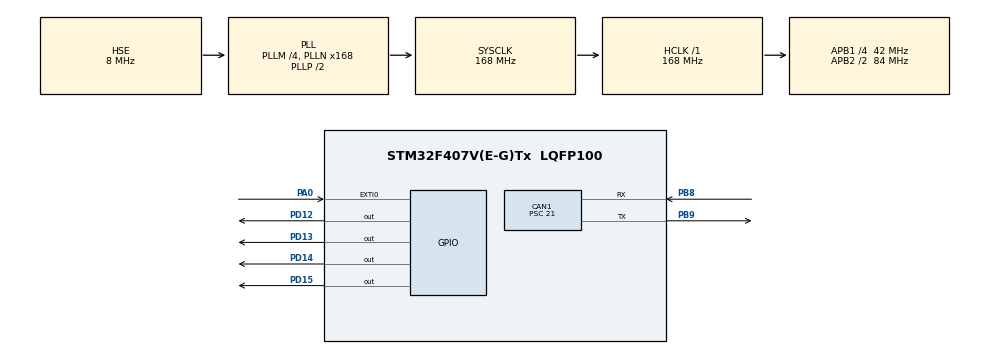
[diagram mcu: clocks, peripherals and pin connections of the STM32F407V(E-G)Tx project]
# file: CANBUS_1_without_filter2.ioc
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CAN1.BS1=CAN_BS1_10TQ
CAN1.BS2=CAN_BS2_5TQ
CAN1.CalculateBaudRate=125000
CAN1.CalculateTimeBit=8000
CAN1.CalculateTimeQuantum=500.0
CAN1.Prescaler=21
Mcu.Family=STM32F4
Mcu.Name=STM32F407V(E-G)Tx
Mcu.Package=LQFP100
NVIC.CAN1_RX0_IRQn=true\:0\:1\:false\:false\:true\:true\:true\:true
NVIC.EXTI0_IRQn=true\:0\:0\:false\:false\:true\:true\:true\:true
NVIC.PriorityGroup=NVIC_PRIORITYGROUP_0
PA0-WKUP.Signal=GPXTI0
PB8.Mode=CAN_Activate
PB8.Signal=CAN1_RX
PB9.Mode=CAN_Activate
PB9.Signal=CAN1_TX
PD12.Signal=GPIO_Output
PD13.Signal=GPIO_Output
PD14.Signal=GPIO_Output
PD15.Signal=GPIO_Output
PH0-OSC_IN.Mode=HSE-External-Oscillator
PH0-OSC_IN.Signal=RCC_OSC_IN
PH1-OSC_OUT.Mode=HSE-External-Oscillator
PH1-OSC_OUT.Signal=RCC_OSC_OUT
ProjectManager.HeapSize=0x200
ProjectManager.StackSize=0x400
ProjectManager.TargetToolchain=STM32CubeIDE
RCC.48MHZClocksFreq_Value=84000000
RCC.AHBFreq_Value=168000000
RCC.APB1CLKDivider=RCC_HCLK_DIV4
RCC.APB1Freq_Value=42000000
RCC.APB1TimFreq_Value=84000000
RCC.APB2CLKDivider=RCC_HCLK_DIV2
RCC.APB2Freq_Value=84000000
RCC.APB2TimFreq_Value=168000000
RCC.CortexFreq_Value=168000000
RCC.HCLKFreq_Value=168000000
RCC.HSE_VALUE=8000000
RCC.HSI_VALUE=16000000
RCC.LSE_VALUE=32768
RCC.PLLM=4
RCC.PLLN=168
RCC.PLLSourceVirtual=RCC_PLLSOURCE_HSE
RCC.SYSCLKFreq_VALUE=168000000
RCC.SYSCLKSource=RCC_SYSCLKSOURCE_PLLCLK
RCC.VCOOutputFreq_Value=336000000
board=custom

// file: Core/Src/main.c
/* USER CODE BEGIN Header */
/**
  ******************************************************************************
  * @file           : main.c
  * @brief          : Main program body
  ******************************************************************************
  * @attention
  *
  * Copyright (c) 2023 STMicroelectronics.
  * All rights reserved.
  *
  * This software is licensed under terms that can be found in the LICENSE file
  * in the root directory of this software component.
  * If no LICENSE file comes with this software, it is provided AS-IS.
  *
  ******************************************************************************
  */
/* USER CODE END Header */
#include "main.h"

CAN_HandleTypeDef hcan1;

CAN_TxHeaderTypeDef pTxHeader;

uint8_t count;
uint32_t pTxMailbox;

CAN_RxHeaderTypeDef pRxHeader;
uint8_t rcount;

CAN_FilterTypeDef sFilterConfig;

void SystemClock_Config(void);
static void MX_GPIO_Init(void);
static void MX_CAN1_Init(void);

int main(void)
{

  /* MCU Configuration--------------------------------------------------------*/

  /* Reset of all peripherals, Initializes the Flash interface and the Systick. */
  HAL_Init();

  /* Configure the system clock */
  SystemClock_Config();

  /* Initialize all configured peripherals */
  MX_GPIO_Init();
  MX_CAN1_Init();
  /* USER CODE BEGIN 2 */

  //start can communication
  HAL_CAN_Start(&hcan1);
  //enable interrupts
  HAL_CAN_ActivateNotification(&hcan1, CAN_IT_RX_FIFO0_MSG_PENDING);

  //set transmit parameters
  pTxHeader.DLC=1;
  pTxHeader.IDE=CAN_ID_STD;
  pTxHeader.RTR=CAN_RTR_DATA;
  pTxHeader.StdId=0X0156;
//set filter parameters
sFilterConfig.FilterActivation=ENABLE;
sFilterConfig.FilterBank=0;
sFilterConfig.FilterFIFOAssignment=CAN_FILTER_FIFO0;
sFilterConfig.FilterIdHigh=0x0150 << 5;
sFilterConfig.FilterIdLow=0x0000;
sFilterConfig.FilterMaskIdHigh=0xFFF0 << 5;
sFilterConfig.FilterMaskIdLow=0x0000;
sFilterConfig.FilterMode=CAN_FILTERMODE_IDMASK; //tek bir mesaj üzerine odaklıysan idlist
sFilterConfig.FilterScale=CAN_FILTERSCALE_32BIT;

HAL_CAN_ConfigFilter(&hcan1, &sFilterConfig);
  /* USER CODE END 2 */

  /* Infinite loop */
  while (1)
  {

  }
}

void SystemClock_Config(void)
{
  RCC_OscInitTypeDef RCC_OscInitStruct = {0};
  RCC_ClkInitTypeDef RCC_ClkInitStruct = {0};

  /** Configure the main internal regulator output voltage
  */
  __HAL_RCC_PWR_CLK_ENABLE();
  __HAL_PWR_VOLTAGESCALING_CONFIG(PWR_REGULATOR_VOLTAGE_SCALE1);

  /** Initializes the RCC Oscillators according to the specified parameters
  * in the RCC_OscInitTypeDef structure.
  */
  RCC_OscInitStruct.OscillatorType = RCC_OSCILLATORTYPE_HSE;
  RCC_OscInitStruct.HSEState = RCC_HSE_ON;
  RCC_OscInitStruct.PLL.PLLState = RCC_PLL_ON;
  RCC_OscInitStruct.PLL.PLLSource = RCC_PLLSOURCE_HSE;
  RCC_OscInitStruct.PLL.PLLM = 4;
  RCC_OscInitStruct.PLL.PLLN = 168;
  RCC_OscInitStruct.PLL.PLLP = RCC_PLLP_DIV2;
  RCC_OscInitStruct.PLL.PLLQ = 4;
  if (HAL_RCC_OscConfig(&RCC_OscInitStruct) != HAL_OK)
  {
    Error_Handler();
  }

  /** Initializes the CPU, AHB and APB buses clocks
  */
  RCC_ClkInitStruct.ClockType = RCC_CLOCKTYPE_HCLK|RCC_CLOCKTYPE_SYSCLK
                              |RCC_CLOCKTYPE_PCLK1|RCC_CLOCKTYPE_PCLK2;
  RCC_ClkInitStruct.SYSCLKSource = RCC_SYSCLKSOURCE_PLLCLK;
  RCC_ClkInitStruct.AHBCLKDivider = RCC_SYSCLK_DIV1;
  RCC_ClkInitStruct.APB1CLKDivider = RCC_HCLK_DIV4;
  RCC_ClkInitStruct.APB2CLKDivider = RCC_HCLK_DIV2;

  if (HAL_RCC_ClockConfig(&RCC_ClkInitStruct, FLASH_LATENCY_5) != HAL_OK)
  {
    Error_Handler();
  }
}

static void MX_CAN1_Init(void)
{

  hcan1.Instance = CAN1;
  hcan1.Init.Prescaler = 21;
  hcan1.Init.Mode = CAN_MODE_NORMAL;
  hcan1.Init.SyncJumpWidth = CAN_SJW_1TQ;
  hcan1.Init.TimeSeg1 = CAN_BS1_10TQ;
  hcan1.Init.TimeSeg2 = CAN_BS2_5TQ;
  hcan1.Init.TimeTriggeredMode = DISABLE;
  hcan1.Init.AutoBusOff = DISABLE;
  hcan1.Init.AutoWakeUp = DISABLE;
  hcan1.Init.AutoRetransmission = DISABLE;
  hcan1.Init.ReceiveFifoLocked = DISABLE;
  hcan1.Init.TransmitFifoPriority = DISABLE;
  if (HAL_CAN_Init(&hcan1) != HAL_OK)
  {
    Error_Handler();
  }

}

static void MX_GPIO_Init(void)
{
  GPIO_InitTypeDef GPIO_InitStruct = {0};

  /* GPIO Ports Clock Enable */
  __HAL_RCC_GPIOH_CLK_ENABLE();
  __HAL_RCC_GPIOA_CLK_ENABLE();
  __HAL_RCC_GPIOD_CLK_ENABLE();
  __HAL_RCC_GPIOB_CLK_ENABLE();

  /*Configure GPIO pin Output Level */
  HAL_GPIO_WritePin(GPIOD, GPIO_PIN_12|GPIO_PIN_13|GPIO_PIN_14|GPIO_PIN_15, GPIO_PIN_RESET);

  /*Configure GPIO pin : PA0 */
  GPIO_InitStruct.Pin = GPIO_PIN_0;
  GPIO_InitStruct.Mode = GPIO_MODE_IT_RISING;
  GPIO_InitStruct.Pull = GPIO_NOPULL;
  HAL_GPIO_Init(GPIOA, &GPIO_InitStruct);

  /*Configure GPIO pins : PD12 PD13 PD14 PD15 */
  GPIO_InitStruct.Pin = GPIO_PIN_12|GPIO_PIN_13|GPIO_PIN_14|GPIO_PIN_15;
  GPIO_InitStruct.Mode = GPIO_MODE_OUTPUT_PP;
  GPIO_InitStruct.Pull = GPIO_NOPULL;
  GPIO_InitStruct.Speed = GPIO_SPEED_FREQ_LOW;
  HAL_GPIO_Init(GPIOD, &GPIO_InitStruct);

  /* EXTI interrupt init*/
  HAL_NVIC_SetPriority(EXTI0_IRQn, 0, 0);
  HAL_NVIC_EnableIRQ(EXTI0_IRQn);

}

void Error_Handler(void)
{
  __disable_irq();
  while (1)
  {
  }
}
